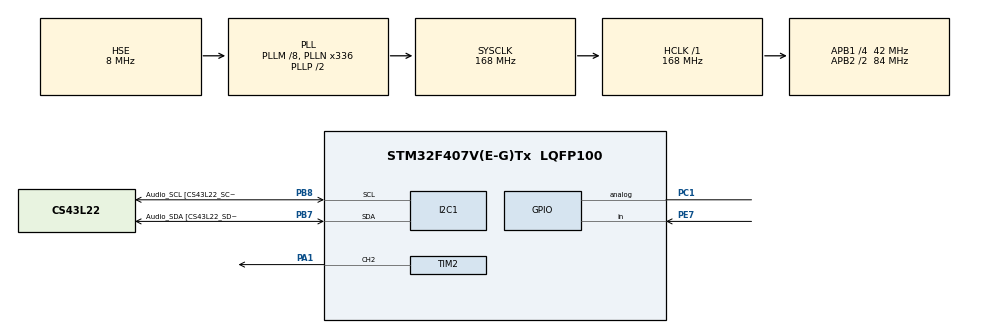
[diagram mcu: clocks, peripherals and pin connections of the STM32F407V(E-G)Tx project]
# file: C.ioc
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Mcu.Family=STM32F4
Mcu.Name=STM32F407V(E-G)Tx
Mcu.Package=LQFP100
NVIC.PriorityGroup=NVIC_PRIORITYGROUP_0
PA1.Signal=S_TIM2_CH2
PB10.Signal=USART3_TX
PB11.Signal=USART3_RX
PB13.Signal=SPI2_SCK
PB14.Signal=SPI2_MISO
PB15.Signal=SPI2_MOSI
PB7.GPIO_Label=Audio_SDA [CS43L22_SDA]
PB7.GPIO_Mode=GPIO_MODE_AF_OD
PB7.GPIO_Pu=GPIO_PULLUP
PB7.GPIO_Speed=GPIO_SPEED_FREQ_LOW
PB7.Mode=I2C
PB7.Signal=I2C1_SDA
PB8.GPIO_Label=Audio_SCL [CS43L22_SCL]
PB8.GPIO_Mode=GPIO_MODE_AF_OD
PB8.GPIO_Pu=GPIO_PULLUP
PB8.GPIO_Speed=GPIO_SPEED_FREQ_LOW
PB8.Mode=I2C
PB8.Signal=I2C1_SCL
PC1.Signal=GPIO_Analog
PE7.Signal=GPIO_Input
ProjectManager.HeapSize=0x200
ProjectManager.StackSize=0x400
ProjectManager.TargetToolchain=EWARM V8.50
RCC.48MHZClocksFreq_Value=48000000
RCC.AHBFreq_Value=168000000
RCC.APB1CLKDivider=RCC_HCLK_DIV4
RCC.APB1Freq_Value=42000000
RCC.APB1TimFreq_Value=84000000
RCC.APB2CLKDivider=RCC_HCLK_DIV2
RCC.APB2Freq_Value=84000000
RCC.APB2TimFreq_Value=168000000
RCC.CortexFreq_Value=168000000
RCC.HCLKFreq_Value=168000000
RCC.HSE_VALUE=8000000
RCC.HSI_VALUE=16000000
RCC.LSE_VALUE=32768
RCC.PLLM=8
RCC.PLLN=336
RCC.PLLQ=7
RCC.PLLSourceVirtual=RCC_PLLSOURCE_HSE
RCC.SYSCLKFreq_VALUE=168000000
RCC.SYSCLKSource=RCC_SYSCLKSOURCE_PLLCLK
RCC.VCOOutputFreq_Value=336000000
SH.S_TIM2_CH2.0=TIM2_CH2,PWM Generation2 CH2
TIM2.Channel-PWM\ Generation2\ CH2=TIM_CHANNEL_2
board=STM32F407G-DISC1

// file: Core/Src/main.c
/* USER CODE BEGIN Header */
/**
  ******************************************************************************
  * @file           : main.c
  * @brief          : Main program body
  ******************************************************************************
  * @attention
  *
  * Copyright (c) 2023 STMicroelectronics.
  * All rights reserved.
  *
  * This software is licensed under terms that can be found in the LICENSE file
  * in the root directory of this software component.
  * If no LICENSE file comes with this software, it is provided AS-IS.
  *
  ******************************************************************************
  */
/* USER CODE END Header */
#include "main.h"
#include "board.h"
#include "log.h"
#include "fingerprint3.h"
#include "string.h"

I2C_HandleTypeDef hi2c1;

TIM_HandleTypeDef htim2;

void SystemClock_Config(void);

static void MX_GPIO_Init(void);

static void MX_I2C1_Init(void);

static void MX_TIM2_Init(void);

/* USER CODE BEGIN 0 */
void application_init ( void )
{
    log_cfg_t log_cfg;
    fingerprint3_cfg_t cfg;

    /**
     * Logger initialization.
     * Default baud rate: 115200
     * Default log level: LOG_LEVEL_DEBUG
     * @note If USB_UART_RX and USB_UART_TX
     * are defined as HAL_PIN_NC, you will
     * need to define them manually for log to work.
     * See @b LOG_MAP_USB_UART macro definition for detailed explanation.
     */
    LOG_MAP_USB_UART( log_cfg );
    log_init( &logger, &log_cfg );
    log_info( &logger, "---- Application Init ----" );
    Delay_ms( 100 );

    //  Click initialization.
    fingerprint3_cfg_setup( &cfg );
    FINGERPRINT3_MAP_MIKROBUS( cfg, MIKROBUS_1 );
    err_t init_flag = fingerprint3_init( &fingerprint3, &cfg );
    if ( init_flag == UART_ERROR )
    {
        log_error( &logger, " Application Init Error. " );
        log_info( &logger, " Please, run program again... " );

        for ( ; ; );
    }
    Delay_ms( 100 );

    error_check = fingerprint3_set_config(&fingerprint3, FINGERPRINT3_DEFAULT_ADDRESS,
                                                  FINGERPRINT3_DEFAULT_PASSWORD);
    display_error( "Set Config" );
    Delay_ms( 500 );

    error_check = fingerprint3_soft_reset ( &fingerprint3 );
    display_error( "Soft Reset" );
    Delay_ms( 500 );

    error_check = fingerprint3_check_sensor ( &fingerprint3 );
    display_error( "Check Sensor" );
    Delay_ms( 500 );

    error_check = fingerprint3_empty_library ( &fingerprint3 );
    display_error( "Empty the Library" );
    Delay_ms( 500 );

    uint8_t cnt = 0;
    do
    {
        log_printf( &logger, " >>>  Register fingerprint %u of %u  <<<\r\n", ( uint16_t ) cnt + 1,
                    ( uint16_t ) NUMBER_OF_FINGERPRINTS );
        log_printf( &logger, "--------------------------------- \r\n" );
        error_check = enroll_finger ( &fingerprint3, LOCATION_IN_LIBRARY + cnt, NUMBER_OF_IMAGES );
        display_error( "Enroll finger" );
        if ( FINGERPRINT3_OK != error_check )
        {
            log_printf( &logger, " Please enroll your fingerprint again.\r\n" );
            log_printf( &logger, "--------------------------------- \r\n" );
        }
        else
        {
            cnt++;
        }
        Delay_ms( 1000 );
    }
    while ( FINGERPRINT3_OK != error_check || cnt != NUMBER_OF_FINGERPRINTS );
}
/* USER CODE END 0 */

int main(void) {

    /* MCU Configuration--------------------------------------------------------*/

    /* Reset of all peripherals, Initializes the Flash interface and the Systick. */
    HAL_Init();

    /* Configure the system clock */
    SystemClock_Config();

    /* Initialize all configured peripherals */
    MX_GPIO_Init();
    MX_I2C1_Init();
    MX_TIM2_Init();
    /* USER CODE BEGIN 2 */
    void application_task ( )
    {
        if ( fingerprint3_finger_indicator( ) == FINGERPRINT3_DETECT_FINGER )
        {
            fingerprint3_buf_clear( );
            mikrobus_logWrite( "---------------------------------", _LOG_LINE );
            mikrobus_logWrite( " >>> Verification in progress... ", _LOG_LINE );
            Delay_ms( 2000 );

            fingerprint3_uart_write( &gen_img[ 0 ], 12 );
            Delay_ms( 500 );
            fingerprint3_parser_rsp( &rsp );
            Delay_ms( 100 );

            if ( rsp.confirm_code == FINGERPRINT3_OK )
            {
                fingerprint3_uart_write( &img_2_tz_2[ 0 ], 13 );
                Delay_ms( 500 );
                fingerprint3_buf_clear( );
            }

            fingerprint3_uart_write( ®_model[ 0 ], 12 );
            Delay_ms( 100 );
            fingerprint3_buf_clear( );

            fingerprint3_uart_write( &fingerprint_match[ 0 ], 12 );
            Delay_ms( 500 );
            fingerprint3_parser_rsp( &rsp );
            fingerprint3_display_match_score( );
            Delay_ms( 3000 );

            mikrobus_logWrite( "  >>> Comparing Fingerprints <<< ", _LOG_LINE );
            mikrobus_logWrite( "- - - - - - - - - - - - - - - - -", _LOG_LINE );
            mikrobus_logWrite( " Place your finger on the sensor ", _LOG_LINE );
        }
        else
        {
            fingerprint3_uart_write( &aura_led_config_purple[ 0 ], 16 );
            Delay_ms( 2000 );
            fingerprint3_buf_clear( );
        }
    }
    /* USER CODE END 2 */

    /* Infinite loop */
    while (1) {

    }
}

void SystemClock_Config(void) {
    RCC_OscInitTypeDef RCC_OscInitStruct = {0};
    RCC_ClkInitTypeDef RCC_ClkInitStruct = {0};

    /** Configure the main internal regulator output voltage
    */
    __HAL_RCC_PWR_CLK_ENABLE();
    __HAL_PWR_VOLTAGESCALING_CONFIG(PWR_REGULATOR_VOLTAGE_SCALE1);

    /** Initializes the RCC Oscillators according to the specified parameters
    * in the RCC_OscInitTypeDef structure.
    */
    RCC_OscInitStruct.OscillatorType = RCC_OSCILLATORTYPE_HSE;
    RCC_OscInitStruct.HSEState = RCC_HSE_OFF;
    RCC_OscInitStruct.PLL.PLLState = RCC_PLL_ON;
    RCC_OscInitStruct.PLL.PLLSource = RCC_PLLSOURCE_HSE;
    RCC_OscInitStruct.PLL.PLLM = 8;
    RCC_OscInitStruct.PLL.PLLN = 336;
    RCC_OscInitStruct.PLL.PLLP = RCC_PLLP_DIV2;
    RCC_OscInitStruct.PLL.PLLQ = 7;
    if (HAL_RCC_OscConfig(&RCC_OscInitStruct) != HAL_OK) {
        Error_Handler();
    }

    /** Initializes the CPU, AHB and APB buses clocks
    */
    RCC_ClkInitStruct.ClockType = RCC_CLOCKTYPE_HCLK | RCC_CLOCKTYPE_SYSCLK
                                  | RCC_CLOCKTYPE_PCLK1 | RCC_CLOCKTYPE_PCLK2;
    RCC_ClkInitStruct.SYSCLKSource = RCC_SYSCLKSOURCE_PLLCLK;
    RCC_ClkInitStruct.AHBCLKDivider = RCC_SYSCLK_DIV1;
    RCC_ClkInitStruct.APB1CLKDivider = RCC_HCLK_DIV4;
    RCC_ClkInitStruct.APB2CLKDivider = RCC_HCLK_DIV2;

    if (HAL_RCC_ClockConfig(&RCC_ClkInitStruct, FLASH_LATENCY_5) != HAL_OK) {
        Error_Handler();
    }
}

static void MX_I2C1_Init(void) {

    hi2c1.Instance = I2C1;
    hi2c1.Init.ClockSpeed = 100000;
    hi2c1.Init.DutyCycle = I2C_DUTYCYCLE_2;
    hi2c1.Init.OwnAddress1 = 0;
    hi2c1.Init.AddressingMode = I2C_ADDRESSINGMODE_7BIT;
    hi2c1.Init.DualAddressMode = I2C_DUALADDRESS_DISABLE;
    hi2c1.Init.OwnAddress2 = 0;
    hi2c1.Init.GeneralCallMode = I2C_GENERALCALL_DISABLE;
    hi2c1.Init.NoStretchMode = I2C_NOSTRETCH_DISABLE;
    if (HAL_I2C_Init(&hi2c1) != HAL_OK) {
        Error_Handler();
    }

}

static void MX_TIM2_Init(void) {

    TIM_MasterConfigTypeDef sMasterConfig = {0};
    TIM_OC_InitTypeDef sConfigOC = {0};

    htim2.Instance = TIM2;
    htim2.Init.Prescaler = 0;
    htim2.Init.CounterMode = TIM_COUNTERMODE_UP;
    htim2.Init.Period = 4294967295;
    htim2.Init.ClockDivision = TIM_CLOCKDIVISION_DIV1;
    htim2.Init.AutoReloadPreload = TIM_AUTORELOAD_PRELOAD_DISABLE;
    if (HAL_TIM_PWM_Init(&htim2) != HAL_OK) {
        Error_Handler();
    }
    sMasterConfig.MasterOutputTrigger = TIM_TRGO_RESET;
    sMasterConfig.MasterSlaveMode = TIM_MASTERSLAVEMODE_DISABLE;
    if (HAL_TIMEx_MasterConfigSynchronization(&htim2, &sMasterConfig) != HAL_OK) {
        Error_Handler();
    }
    sConfigOC.OCMode = TIM_OCMODE_PWM1;
    sConfigOC.Pulse = 0;
    sConfigOC.OCPolarity = TIM_OCPOLARITY_HIGH;
    sConfigOC.OCFastMode = TIM_OCFAST_DISABLE;
    if (HAL_TIM_PWM_ConfigChannel(&htim2, &sConfigOC, TIM_CHANNEL_2) != HAL_OK) {
        Error_Handler();
    }
    HAL_TIM_MspPostInit(&htim2);

}

static void MX_GPIO_Init(void) {
    GPIO_InitTypeDef GPIO_InitStruct = {0};

    /* GPIO Ports Clock Enable */
    __HAL_RCC_GPIOC_CLK_ENABLE();
    __HAL_RCC_GPIOA_CLK_ENABLE();
    __HAL_RCC_GPIOE_CLK_ENABLE();
    __HAL_RCC_GPIOB_CLK_ENABLE();

    /*Configure GPIO pin : PC1 */
    GPIO_InitStruct.Pin = GPIO_PIN_1;
    GPIO_InitStruct.Mode = GPIO_MODE_ANALOG;
    GPIO_InitStruct.Pull = GPIO_NOPULL;
    HAL_GPIO_Init(GPIOC, &GPIO_InitStruct);

    /*Configure GPIO pin : PE7 */
    GPIO_InitStruct.Pin = GPIO_PIN_7;
    GPIO_InitStruct.Mode = GPIO_MODE_INPUT;
    GPIO_InitStruct.Pull = GPIO_NOPULL;
    HAL_GPIO_Init(GPIOE, &GPIO_InitStruct);

    /*Configure GPIO pins : PB10 PB11 */
    GPIO_InitStruct.Pin = GPIO_PIN_10 | GPIO_PIN_11;
    GPIO_InitStruct.Mode = GPIO_MODE_AF_PP;
    GPIO_InitStruct.Pull = GPIO_NOPULL;
    GPIO_InitStruct.Speed = GPIO_SPEED_FREQ_VERY_HIGH;
    GPIO_InitStruct.Alternate = GPIO_AF7_USART3;
    HAL_GPIO_Init(GPIOB, &GPIO_InitStruct);

    /*Configure GPIO pins : PB13 PB14 PB15 */
    GPIO_InitStruct.Pin = GPIO_PIN_13 | GPIO_PIN_14 | GPIO_PIN_15;
    GPIO_InitStruct.Mode = GPIO_MODE_AF_PP;
    GPIO_InitStruct.Pull = GPIO_NOPULL;
    GPIO_InitStruct.Speed = GPIO_SPEED_FREQ_VERY_HIGH;
    GPIO_InitStruct.Alternate = GPIO_AF5_SPI2;
    HAL_GPIO_Init(GPIOB, &GPIO_InitStruct);

}

void Error_Handler(void) {
    __disable_irq();
    while (1) {
    }
}
